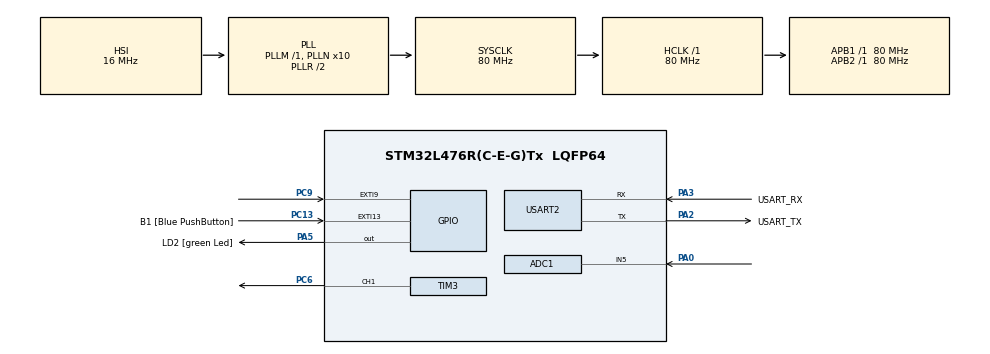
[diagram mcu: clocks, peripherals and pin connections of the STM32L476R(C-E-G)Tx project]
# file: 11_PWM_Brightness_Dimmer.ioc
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ADC1.Channel-0\#ChannelRegularConversion=ADC_CHANNEL_5
ADC1.ContinuousConvMode=ENABLE
ADC1.DMAContinuousRequests=ENABLE
ADC1.NbrOfConversionFlag=1
ADC1.OffsetNumber-0\#ChannelRegularConversion=ADC_OFFSET_NONE
ADC1.Rank-0\#ChannelRegularConversion=1
ADC1.SamplingTime-0\#ChannelRegularConversion=ADC_SAMPLETIME_2CYCLES_5
ADC1.master=1
Dma.ADC1.0.Direction=DMA_PERIPH_TO_MEMORY
Dma.ADC1.0.Instance=DMA1_Channel1
Dma.ADC1.0.MemDataAlignment=DMA_MDATAALIGN_HALFWORD
Dma.ADC1.0.MemInc=DMA_MINC_ENABLE
Dma.ADC1.0.Mode=DMA_CIRCULAR
Dma.ADC1.0.PeriphDataAlignment=DMA_PDATAALIGN_HALFWORD
Dma.ADC1.0.PeriphInc=DMA_PINC_DISABLE
Dma.ADC1.0.Priority=DMA_PRIORITY_LOW
Dma.Request0=ADC1
Dma.Request1=USART2_RX
Dma.Request2=USART2_TX
Dma.USART2_RX.1.Direction=DMA_PERIPH_TO_MEMORY
Dma.USART2_RX.1.Instance=DMA1_Channel6
Dma.USART2_RX.1.MemDataAlignment=DMA_MDATAALIGN_BYTE
Dma.USART2_RX.1.MemInc=DMA_MINC_ENABLE
Dma.USART2_RX.1.Mode=DMA_NORMAL
Dma.USART2_RX.1.PeriphDataAlignment=DMA_PDATAALIGN_BYTE
Dma.USART2_RX.1.PeriphInc=DMA_PINC_DISABLE
Dma.USART2_RX.1.Priority=DMA_PRIORITY_LOW
Dma.USART2_TX.2.Direction=DMA_MEMORY_TO_PERIPH
Dma.USART2_TX.2.Instance=DMA1_Channel7
Dma.USART2_TX.2.MemDataAlignment=DMA_MDATAALIGN_BYTE
Dma.USART2_TX.2.MemInc=DMA_MINC_ENABLE
Dma.USART2_TX.2.Mode=DMA_NORMAL
Dma.USART2_TX.2.PeriphDataAlignment=DMA_PDATAALIGN_BYTE
Dma.USART2_TX.2.PeriphInc=DMA_PINC_DISABLE
Dma.USART2_TX.2.Priority=DMA_PRIORITY_LOW
Mcu.Family=STM32L4
Mcu.Name=STM32L476R(C-E-G)Tx
Mcu.Package=LQFP64
NVIC.DMA1_Channel1_IRQn=true\:0\:0\:false\:false\:true\:false\:true\:true
NVIC.DMA1_Channel6_IRQn=true\:0\:0\:false\:false\:true\:false\:true\:true
NVIC.DMA1_Channel7_IRQn=true\:0\:0\:false\:false\:true\:false\:true\:true
NVIC.EXTI9_5_IRQn=true\:0\:0\:false\:false\:true\:true\:true\:true
NVIC.PriorityGroup=NVIC_PRIORITYGROUP_4
NVIC.USART2_IRQn=true\:0\:0\:false\:false\:true\:true\:true\:true
PA0.Signal=ADCx_IN5
PA13\ (JTMS-SWDIO).GPIO_Label=TMS
PA13\ (JTMS-SWDIO).Mode=Serial_Wire
PA13\ (JTMS-SWDIO).Signal=SYS_JTMS-SWDIO
PA14\ (JTCK-SWCLK).GPIO_Label=TCK
PA14\ (JTCK-SWCLK).Mode=Serial_Wire
PA14\ (JTCK-SWCLK).Signal=SYS_JTCK-SWCLK
PA2.GPIO_Label=USART_TX
PA2.GPIO_Mode=GPIO_MODE_AF_PP
PA2.GPIO_PuPd=GPIO_NOPULL
PA2.GPIO_Speed=GPIO_SPEED_FREQ_VERY_HIGH
PA2.Mode=Asynchronous
PA2.Signal=USART2_TX
PA3.GPIO_Label=USART_RX
PA3.GPIO_Mode=GPIO_MODE_AF_PP
PA3.GPIO_PuPd=GPIO_NOPULL
PA3.GPIO_Speed=GPIO_SPEED_FREQ_VERY_HIGH
PA3.Mode=Asynchronous
PA3.Signal=USART2_RX
PA5.GPIO_Label=LD2 [green Led]
PA5.GPIO_ModeDefaultOutputPP=GPIO_MODE_OUTPUT_PP
PA5.GPIO_PuPd=GPIO_NOPULL
PA5.GPIO_Speed=GPIO_SPEED_FREQ_LOW
PA5.Signal=GPIO_Output
PB3\ (JTDO-TRACESWO).GPIO_Label=SWO
PB3\ (JTDO-TRACESWO).Signal=SYS_JTDO-SWO
PC13.GPIO_Label=B1 [Blue PushButton]
PC13.GPIO_ModeDefaultEXTI=GPIO_MODE_IT_FALLING
PC13.GPIO_PuPd=GPIO_NOPULL
PC13.Signal=GPXTI13
PC14-OSC32_IN\ (PC14).Mode=LSE-External-Oscillator
PC14-OSC32_IN\ (PC14).Signal=RCC_OSC32_IN
PC15-OSC32_OUT\ (PC15).Mode=LSE-External-Oscillator
PC15-OSC32_OUT\ (PC15).Signal=RCC_OSC32_OUT
PC6.Signal=S_TIM3_CH1
PC9.GPIO_PuPd=GPIO_PULLUP
PC9.Signal=GPXTI9
PH0-OSC_IN\ (PH0).Signal=RCC_OSC_IN
PH1-OSC_OUT\ (PH1).Signal=RCC_OSC_OUT
ProjectManager.HeapSize=0x200
ProjectManager.StackSize=0x400
ProjectManager.TargetToolchain=STM32CubeIDE
RCC.ADCFreq_Value=64000000
RCC.AHBFreq_Value=80000000
RCC.APB1Freq_Value=80000000
RCC.APB1TimFreq_Value=80000000
RCC.APB2Freq_Value=80000000
RCC.APB2TimFreq_Value=80000000
RCC.CortexFreq_Value=80000000
RCC.HCLKFreq_Value=80000000
RCC.HSE_VALUE=8000000
RCC.HSI_VALUE=16000000
RCC.MSI_VALUE=4000000
RCC.PLLN=10
RCC.PLLSourceVirtual=RCC_PLLSOURCE_HSI
RCC.PREFETCH_ENABLE=1
RCC.SYSCLKFreq_VALUE=80000000
RCC.SYSCLKSource=RCC_SYSCLKSOURCE_PLLCLK
RCC.USBFreq_Value=64000000
RCC.VCOOutputFreq_Value=160000000
SH.ADCx_IN5.0=ADC1_IN5,IN5-Single-Ended
SH.S_TIM3_CH1.0=TIM3_CH1,PWM Generation1 CH1
TIM3.Channel-PWM\ Generation1\ CH1=TIM_CHANNEL_1
TIM3.Period=4095
USART2.VirtualMode-Asynchronous=VM_ASYNC
VP_TIM3_VS_ClockSourceINT.Mode=Internal
board=NUCLEO-L476RG

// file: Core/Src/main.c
/* USER CODE BEGIN Header */
/**
  ******************************************************************************
  * @file           : main.c
  * @brief          : Main program body
  ******************************************************************************
  * @attention
  *
  * Copyright (c) 2026 STMicroelectronics.
  * All rights reserved.
  *
  * This software is licensed under terms that can be found in the LICENSE file
  * in the root directory of this software component.
  * If no LICENSE file comes with this software, it is provided AS-IS.
  *
  ******************************************************************************
  */
/* USER CODE END Header */
#include "main.h"

/* USER CODE BEGIN Includes */
#include <stdio.h>
#include <string.h>
/* USER CODE END Includes */

/* USER CODE BEGIN PTD */
typedef enum {
	MODE_RECEIVING,
	MODE_SENDING
} GameMode_t;
/* USER CODE END PTD */

ADC_HandleTypeDef hadc1;
DMA_HandleTypeDef hdma_adc1;

TIM_HandleTypeDef htim3;

UART_HandleTypeDef huart2;
DMA_HandleTypeDef hdma_usart2_rx;
DMA_HandleTypeDef hdma_usart2_tx;

/* USER CODE BEGIN PV */
volatile GameMode_t current_mode = MODE_RECEIVING;
/* USER CODE END PV */

void SystemClock_Config(void);
static void MX_GPIO_Init(void);
static void MX_DMA_Init(void);
static void MX_ADC1_Init(void);
static void MX_USART2_UART_Init(void);
static void MX_TIM3_Init(void);

/* USER CODE BEGIN 0 */
volatile uint16_t data_buffer[1];
char tx_buffer[64];

// 8 characters to fit "LED:4095" (4095 means brightness value)
char rx_buffer[8];
volatile uint8_t command_ready = 0;
/* USER CODE END 0 */

int main(void)
{

  /* MCU Configuration--------------------------------------------------------*/

  /* Reset of all peripherals, Initializes the Flash interface and the Systick. */
  HAL_Init();

  /* Configure the system clock */
  SystemClock_Config();

  /* Initialize all configured peripherals */
  MX_GPIO_Init();
  MX_DMA_Init();
  MX_ADC1_Init();
  MX_USART2_UART_Init();
  MX_TIM3_Init();
  /* USER CODE BEGIN 2 */
  // Force the CPU manager to completely ignore the ADC DMA interrupt
  HAL_NVIC_DisableIRQ(DMA1_Channel1_IRQn);

  HAL_ADCEx_Calibration_Start(&hadc1, ADC_SINGLE_ENDED);
  HAL_ADC_Start_DMA(&hadc1, (uint32_t*)data_buffer, 1);
  __HAL_DMA_DISABLE_IT(&hdma_adc1, DMA_IT_TC | DMA_IT_HT | DMA_IT_TE);

  // Start UART DMA listener
  HAL_UART_Receive_DMA(&huart2, (uint8_t*)rx_buffer, 8);

  // Start the TIM3 PWM generation on Channel 1 (PC6)
  HAL_TIM_PWM_Start(&htim3, TIM_CHANNEL_1);
  /* USER CODE END 2 */

  /* Infinite loop */
  /* USER CODE BEGIN WHILE */
  while (1)
  {
	  // Mode Announcer
	  static GameMode_t last_known_mode = MODE_RECEIVING; // Match initial state

	  if (current_mode != last_known_mode)
	  {
		  if (current_mode == MODE_RECEIVING)
		  {
			  char msg[] = "\r\n--- RECEIVING MODE ---\r\n";
			  HAL_UART_Transmit(&huart2, (uint8_t*)msg, strlen(msg), 100);
		  }
		  else if (current_mode == MODE_SENDING)
		  {
			  char msg[] = "\r\n--- SENDING MODE ---\r\n";
			  HAL_UART_Transmit(&huart2, (uint8_t*)msg, strlen(msg), 100);
		  }
		  last_known_mode = current_mode;
	  }

	  switch (current_mode)
	  {
	  	  case MODE_SENDING:
		  {
			  static uint16_t last_pot_value = 0xFFFF;
			  static uint32_t last_print_time = 0;

			  uint16_t current_pot = data_buffer[0];

			  // 1. Directly update the hardware PWM register with the pot value instantly
			  TIM3->CCR1 = current_pot;

			  // 2. Throttle the CPU check to only run once every 100 milliseconds
			  uint32_t current_time = HAL_GetTick();
			  if (current_time - last_print_time > 100)
			  {
				  uint16_t value_diff = (current_pot > last_pot_value) ? (current_pot - last_pot_value) : (last_pot_value - current_pot);

				  // 3. Only print if the value jumped outside the electrical noise floor
				  if (value_diff > 50)
				  {
					  snprintf(tx_buffer, sizeof(tx_buffer), "Brightness: %u\r\n", current_pot);
					  HAL_UART_Transmit_DMA(&huart2, (uint8_t*)tx_buffer, strlen(tx_buffer));

					  last_pot_value = current_pot;
				  }

				  last_print_time = current_time; // Reset the timer
			  }
		  }
	  	  break;

	  	  case MODE_RECEIVING:
	  	  {
	  		  if (command_ready == 1)
	  		  {
	  			  command_ready = 0;

	  			  if (strncmp((char*)rx_buffer, "LED:", 4) == 0)
	  			  {
	  				  uint16_t manual_brightness = (rx_buffer[4] - '0') * 1000 +
	  						  	  	  	  	  	   (rx_buffer[5] - '0') * 100 +
												   (rx_buffer[6] - '0') * 10 +
												   (rx_buffer[7] - '0');

	  				// Hardware safety clamp: prevent exceeding the 4095 timer limit
	  				if (manual_brightness > 4095) manual_brightness = 4095;

	  				// Push the UART command directly into the PWM timer
	  				TIM3->CCR1 = manual_brightness;
	  			  }
	  		  }
	  	  }
	  	  break;
	  }
    /* USER CODE END WHILE */

  }
}

void SystemClock_Config(void)
{
  RCC_OscInitTypeDef RCC_OscInitStruct = {0};
  RCC_ClkInitTypeDef RCC_ClkInitStruct = {0};

  /** Configure the main internal regulator output voltage
  */
  if (HAL_PWREx_ControlVoltageScaling(PWR_REGULATOR_VOLTAGE_SCALE1) != HAL_OK)
  {
    Error_Handler();
  }

  /** Initializes the RCC Oscillators according to the specified parameters
  * in the RCC_OscInitTypeDef structure.
  */
  RCC_OscInitStruct.OscillatorType = RCC_OSCILLATORTYPE_HSI;
  RCC_OscInitStruct.HSIState = RCC_HSI_ON;
  RCC_OscInitStruct.HSICalibrationValue = RCC_HSICALIBRATION_DEFAULT;
  RCC_OscInitStruct.PLL.PLLState = RCC_PLL_ON;
  RCC_OscInitStruct.PLL.PLLSource = RCC_PLLSOURCE_HSI;
  RCC_OscInitStruct.PLL.PLLM = 1;
  RCC_OscInitStruct.PLL.PLLN = 10;
  RCC_OscInitStruct.PLL.PLLP = RCC_PLLP_DIV7;
  RCC_OscInitStruct.PLL.PLLQ = RCC_PLLQ_DIV2;
  RCC_OscInitStruct.PLL.PLLR = RCC_PLLR_DIV2;
  if (HAL_RCC_OscConfig(&RCC_OscInitStruct) != HAL_OK)
  {
    Error_Handler();
  }

  /** Initializes the CPU, AHB and APB buses clocks
  */
  RCC_ClkInitStruct.ClockType = RCC_CLOCKTYPE_HCLK|RCC_CLOCKTYPE_SYSCLK
                              |RCC_CLOCKTYPE_PCLK1|RCC_CLOCKTYPE_PCLK2;
  RCC_ClkInitStruct.SYSCLKSource = RCC_SYSCLKSOURCE_PLLCLK;
  RCC_ClkInitStruct.AHBCLKDivider = RCC_SYSCLK_DIV1;
  RCC_ClkInitStruct.APB1CLKDivider = RCC_HCLK_DIV1;
  RCC_ClkInitStruct.APB2CLKDivider = RCC_HCLK_DIV1;

  if (HAL_RCC_ClockConfig(&RCC_ClkInitStruct, FLASH_LATENCY_4) != HAL_OK)
  {
    Error_Handler();
  }
}

static void MX_ADC1_Init(void)
{

  ADC_MultiModeTypeDef multimode = {0};
  ADC_ChannelConfTypeDef sConfig = {0};

  /** Common config
  */
  hadc1.Instance = ADC1;
  hadc1.Init.ClockPrescaler = ADC_CLOCK_ASYNC_DIV1;
  hadc1.Init.Resolution = ADC_RESOLUTION_12B;
  hadc1.Init.DataAlign = ADC_DATAALIGN_RIGHT;
  hadc1.Init.ScanConvMode = ADC_SCAN_DISABLE;
  hadc1.Init.EOCSelection = ADC_EOC_SINGLE_CONV;
  hadc1.Init.LowPowerAutoWait = DISABLE;
  hadc1.Init.ContinuousConvMode = ENABLE;
  hadc1.Init.NbrOfConversion = 1;
  hadc1.Init.DiscontinuousConvMode = DISABLE;
  hadc1.Init.ExternalTrigConv = ADC_SOFTWARE_START;
  hadc1.Init.ExternalTrigConvEdge = ADC_EXTERNALTRIGCONVEDGE_NONE;
  hadc1.Init.DMAContinuousRequests = ENABLE;
  hadc1.Init.Overrun = ADC_OVR_DATA_PRESERVED;
  hadc1.Init.OversamplingMode = DISABLE;
  if (HAL_ADC_Init(&hadc1) != HAL_OK)
  {
    Error_Handler();
  }

  /** Configure the ADC multi-mode
  */
  multimode.Mode = ADC_MODE_INDEPENDENT;
  if (HAL_ADCEx_MultiModeConfigChannel(&hadc1, &multimode) != HAL_OK)
  {
    Error_Handler();
  }

  /** Configure Regular Channel
  */
  sConfig.Channel = ADC_CHANNEL_5;
  sConfig.Rank = ADC_REGULAR_RANK_1;
  sConfig.SamplingTime = ADC_SAMPLETIME_2CYCLES_5;
  sConfig.SingleDiff = ADC_SINGLE_ENDED;
  sConfig.OffsetNumber = ADC_OFFSET_NONE;
  sConfig.Offset = 0;
  if (HAL_ADC_ConfigChannel(&hadc1, &sConfig) != HAL_OK)
  {
    Error_Handler();
  }

}

static void MX_TIM3_Init(void)
{

  TIM_ClockConfigTypeDef sClockSourceConfig = {0};
  TIM_MasterConfigTypeDef sMasterConfig = {0};
  TIM_OC_InitTypeDef sConfigOC = {0};

  htim3.Instance = TIM3;
  htim3.Init.Prescaler = 0;
  htim3.Init.CounterMode = TIM_COUNTERMODE_UP;
  htim3.Init.Period = 4095;
  htim3.Init.ClockDivision = TIM_CLOCKDIVISION_DIV1;
  htim3.Init.AutoReloadPreload = TIM_AUTORELOAD_PRELOAD_DISABLE;
  if (HAL_TIM_Base_Init(&htim3) != HAL_OK)
  {
    Error_Handler();
  }
  sClockSourceConfig.ClockSource = TIM_CLOCKSOURCE_INTERNAL;
  if (HAL_TIM_ConfigClockSource(&htim3, &sClockSourceConfig) != HAL_OK)
  {
    Error_Handler();
  }
  if (HAL_TIM_PWM_Init(&htim3) != HAL_OK)
  {
    Error_Handler();
  }
  sMasterConfig.MasterOutputTrigger = TIM_TRGO_RESET;
  sMasterConfig.MasterSlaveMode = TIM_MASTERSLAVEMODE_DISABLE;
  if (HAL_TIMEx_MasterConfigSynchronization(&htim3, &sMasterConfig) != HAL_OK)
  {
    Error_Handler();
  }
  sConfigOC.OCMode = TIM_OCMODE_PWM1;
  sConfigOC.Pulse = 0;
  sConfigOC.OCPolarity = TIM_OCPOLARITY_HIGH;
  sConfigOC.OCFastMode = TIM_OCFAST_DISABLE;
  if (HAL_TIM_PWM_ConfigChannel(&htim3, &sConfigOC, TIM_CHANNEL_1) != HAL_OK)
  {
    Error_Handler();
  }
  HAL_TIM_MspPostInit(&htim3);

}

static void MX_USART2_UART_Init(void)
{

  huart2.Instance = USART2;
  huart2.Init.BaudRate = 115200;
  huart2.Init.WordLength = UART_WORDLENGTH_8B;
  huart2.Init.StopBits = UART_STOPBITS_1;
  huart2.Init.Parity = UART_PARITY_NONE;
  huart2.Init.Mode = UART_MODE_TX_RX;
  huart2.Init.HwFlowCtl = UART_HWCONTROL_NONE;
  huart2.Init.OverSampling = UART_OVERSAMPLING_16;
  huart2.Init.OneBitSampling = UART_ONE_BIT_SAMPLE_DISABLE;
  huart2.AdvancedInit.AdvFeatureInit = UART_ADVFEATURE_NO_INIT;
  if (HAL_UART_Init(&huart2) != HAL_OK)
  {
    Error_Handler();
  }

}

static void MX_DMA_Init(void)
{

  /* DMA controller clock enable */
  __HAL_RCC_DMA1_CLK_ENABLE();

  /* DMA interrupt init */
  /* DMA1_Channel1_IRQn interrupt configuration */
  HAL_NVIC_SetPriority(DMA1_Channel1_IRQn, 0, 0);
  HAL_NVIC_EnableIRQ(DMA1_Channel1_IRQn);
  /* DMA1_Channel6_IRQn interrupt configuration */
  HAL_NVIC_SetPriority(DMA1_Channel6_IRQn, 0, 0);
  HAL_NVIC_EnableIRQ(DMA1_Channel6_IRQn);
  /* DMA1_Channel7_IRQn interrupt configuration */
  HAL_NVIC_SetPriority(DMA1_Channel7_IRQn, 0, 0);
  HAL_NVIC_EnableIRQ(DMA1_Channel7_IRQn);

}

static void MX_GPIO_Init(void)
{
  GPIO_InitTypeDef GPIO_InitStruct = {0};

  /* GPIO Ports Clock Enable */
  __HAL_RCC_GPIOC_CLK_ENABLE();
  __HAL_RCC_GPIOH_CLK_ENABLE();
  __HAL_RCC_GPIOA_CLK_ENABLE();
  __HAL_RCC_GPIOB_CLK_ENABLE();

  /*Configure GPIO pin Output Level */
  HAL_GPIO_WritePin(LD2_GPIO_Port, LD2_Pin, GPIO_PIN_RESET);

  /*Configure GPIO pin : B1_Pin */
  GPIO_InitStruct.Pin = B1_Pin;
  GPIO_InitStruct.Mode = GPIO_MODE_IT_FALLING;
  GPIO_InitStruct.Pull = GPIO_NOPULL;
  HAL_GPIO_Init(B1_GPIO_Port, &GPIO_InitStruct);

  /*Configure GPIO pin : LD2_Pin */
  GPIO_InitStruct.Pin = LD2_Pin;
  GPIO_InitStruct.Mode = GPIO_MODE_OUTPUT_PP;
  GPIO_InitStruct.Pull = GPIO_NOPULL;
  GPIO_InitStruct.Speed = GPIO_SPEED_FREQ_LOW;
  HAL_GPIO_Init(LD2_GPIO_Port, &GPIO_InitStruct);

  /*Configure GPIO pin : PC9 */
  GPIO_InitStruct.Pin = GPIO_PIN_9;
  GPIO_InitStruct.Mode = GPIO_MODE_IT_RISING;
  GPIO_InitStruct.Pull = GPIO_PULLUP;
  HAL_GPIO_Init(GPIOC, &GPIO_InitStruct);

  /* EXTI interrupt init*/
  HAL_NVIC_SetPriority(EXTI9_5_IRQn, 0, 0);
  HAL_NVIC_EnableIRQ(EXTI9_5_IRQn);

}

/* USER CODE BEGIN 4 */
void HAL_UART_RxCpltCallback(UART_HandleTypeDef *huart)
{
	if (huart->Instance == USART2)
		{
			command_ready = 1;

			// Re-arm DMA for 8 characters
			HAL_UART_Receive_DMA(huart, (uint8_t*)rx_buffer, 8);
		}
}

void HAL_GPIO_EXTI_Callback(uint16_t GPIO_Pin)
{
	// Assuming your button is still on PC9
	if (GPIO_Pin == GPIO_PIN_9)
	{
		static uint32_t last_button_press = 0;
		uint32_t current_time = HAL_GetTick();

		// 250ms debouncer
		if (current_time - last_button_press > 250)
		{
			if (current_mode == MODE_SENDING)
			{
				current_mode = MODE_RECEIVING;
			}
			else if (current_mode == MODE_RECEIVING)
			{
				current_mode = MODE_SENDING;
			}
			last_button_press = current_time;
		}
	}
}
/* USER CODE END 4 */

void Error_Handler(void)
{
  __disable_irq();
  while (1)
  {
  }
}
